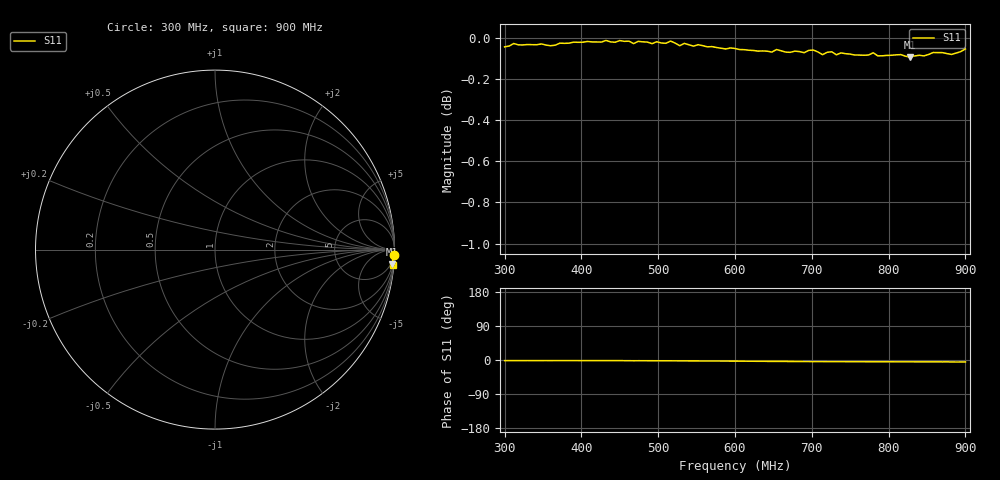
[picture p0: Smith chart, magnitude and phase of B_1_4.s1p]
# HZ S RI R 50
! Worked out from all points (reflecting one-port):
!   101 points, 300 MHz to 900 MHz, reference 50 ohm
!   lowest |S11| = -0.1 dB at 828 MHz (marker M1), VSWR 186.25, Z = 154 - j1.19e+03 ohm
!   phase of S11 starts at -2 deg and turns -3 deg over the sweep
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3e8  0.9946 -0.0277
3.12e8  0.9965 -0.028
3.78e8  0.9966 -0.0269
4.5e8  0.9981 -0.0299
4.62e8  0.9977 -0.031
4.68e8  0.9962 -0.034
4.74e8  0.9976 -0.0319
4.92e8  0.9962 -0.034
5.16e8  0.9976 -0.0364
5.28e8  0.9949 -0.0393
5.34e8  0.9962 -0.0395
6e8  0.9928 -0.0516
6.48e8  0.99 -0.0642
6.54e8  0.9914 -0.0651
6.78e8  0.9903 -0.0685
7.02e8  0.9905 -0.0729
7.14e8  0.988 -0.073
7.26e8  0.9895 -0.0745
7.5e8  0.988 -0.0771
8.16e8  0.9872 -0.0829
8.28e8  0.9859 -0.0819
8.34e8  0.9863 -0.0846
8.46e8  0.9862 -0.0861
8.58e8  0.9883 -0.0843
8.7e8  0.988 -0.0868
8.76e8  0.9876 -0.0852
8.88e8  0.9875 -0.0899
9e8  0.9899 -0.0882
